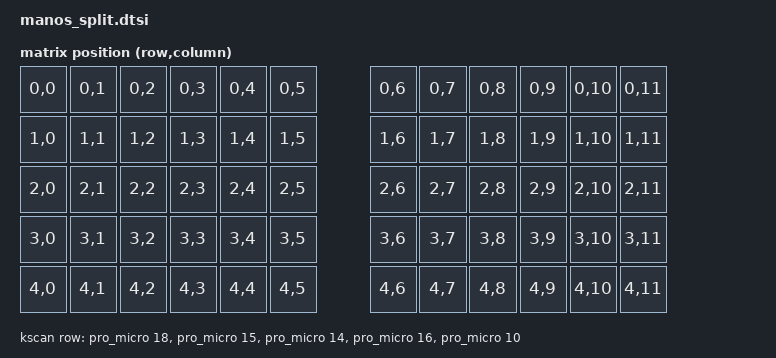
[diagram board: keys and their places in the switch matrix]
#include <physical_layouts.dtsi>
#include <dt-bindings/zmk/matrix_transform.h>

#define MIRYOKU_DOUBLE_TAP_GUARD(NAME, BINDING) \
/ { \
  behaviors { \
    NAME: NAME { \
      compatible = "zmk,behavior-tap-dance"; \
      #binding-cells = <0>; \
      tapping-term-ms = <U_TAPPING_TERM>; \
      bindings = <&none>, <BINDING>; \
    }; \
  }; \
};

#define MIRYOKU_X(LAYER, STRING) \
MIRYOKU_DOUBLE_TAP_GUARD(u_to_U_##LAYER, &to U_##LAYER)
MIRYOKU_LAYER_LIST
#undef MIRYOKU_X

#if defined (MIRYOKU_KLUDGE_DOUBLETAPBOOT)
  #if defined (MIRYOKU_KLUDGE_SOFT_OFF)
MIRYOKU_DOUBLE_TAP_GUARD(u_soft_off, &soft_off)
  #else
MIRYOKU_DOUBLE_TAP_GUARD(u_bootloader, &bootloader)
  #endif
#endif

#define MIRYOKU_KLUDGE_BOTTOMROWCOMBOS_TERM 50
#define MIRYOKU_KLUDGE_BOTTOMROWCOMBOS_MACRO(LAYER, POSITION, BINDING) \
bottomrowcombos_ ## LAYER ## _ ## POSITION { \
  layers = <LAYER>; \
  key-positions = <MIRYOKU_KLUDGE_BOTTOMROWCOMBOS_ ## POSITION>; \
  bindings = <BINDING>; \
  timeout-ms = <MIRYOKU_KLUDGE_BOTTOMROWCOMBOS_TERM>; \
};

#define MIRYOKU_X(CODE, EMPTY) \
MIRYOKU_TAPDELAY_TAP(CODE##EMPTY) \
MIRYOKU_TAPDELAY_MT(CODE##EMPTY) \
MIRYOKU_TAPDELAY_LT(CODE##EMPTY)

MIRYOKU_TAPDELAY_LIST

#undef MIRYOKU_X


&mmv {
  acceleration-exponent = <U_MOUSE_MOVE_EXPONENT>;
  time-to-max-speed-ms = <U_MOUSE_MOVE_TIME>;
  delay-ms = <U_MOUSE_MOVE_DELAY>;
};

/*
&msc {
  acceleration-exponent = <U_MOUSE_SCROLL_EXPONENT>;
  time-to-max-speed-ms = <U_MOUSE_SCROLL_TIME>;
  delay-ms = <U_MOUSE_SCROLL_DELAY>;
};
*/

#define MIRYOKU_KLUDGE_THUMBCOMBOS_TERM 200
#define MIRYOKU_KLUDGE_THUMBCOMBOS_MACRO(LAYER, POSITION, BINDING) \
thumbcombos_ ## LAYER ## _ ## POSITION { \
  layers = <LAYER>; \
  key-positions = <MIRYOKU_KLUDGE_THUMBCOMBOS_ ## POSITION>; \
  bindings = <BINDING>; \
  timeout-ms = <MIRYOKU_KLUDGE_THUMBCOMBOS_TERM>; \
};

U_MACRO(u_macro_btn1, wait-ms = <0>; bindings = <&kp KP_SLASH &kp KP_N5>;)
U_MACRO(u_macro_btn2, wait-ms = <0>; bindings = <&kp KP_MINUS &kp KP_N5>;)
U_MACRO(u_macro_btn3, wait-ms = <0>; bindings = <&kp KP_ASTERISK &kp KP_N5>;)

#define MIRYOKU_SHIFT_FUNCTION(NAME, BINDING, SHIFT_BINDING) \
/ { \
  behaviors { \
    NAME: NAME { \
      compatible = "zmk,behavior-mod-morph"; \
      #binding-cells = <0>; \
      bindings = <BINDING>, <SHIFT_BINDING>; \
      mods = <(MOD_LSFT|MOD_RSFT)>; \
    }; \
  }; \
};

#define MIRYOKU_SHIFT_MACRO(NAME, BINDING, SHIFT_BINDING) \
U_MACRO(u_macro_ ## NAME, wait-ms = <0>; bindings = <SHIFT_BINDING>;) \
MIRYOKU_SHIFT_FUNCTION(NAME, BINDING, &u_macro_ ## NAME)

MIRYOKU_SHIFT_MACRO(u_bt_sel_0, &bt BT_SEL 0, &bt BT_SEL 0 &bt BT_CLR)
MIRYOKU_SHIFT_MACRO(u_bt_sel_1, &bt BT_SEL 1, &bt BT_SEL 1 &bt BT_CLR)
MIRYOKU_SHIFT_MACRO(u_bt_sel_2, &bt BT_SEL 2, &bt BT_SEL 2 &bt BT_CLR)
MIRYOKU_SHIFT_MACRO(u_bt_sel_3, &bt BT_SEL 3, &bt BT_SEL 3 &bt BT_CLR)
MIRYOKU_SHIFT_MACRO(u_bt_sel_4, &bt BT_SEL 4, &bt BT_SEL 4 &bt BT_CLR)

MIRYOKU_SHIFT_FUNCTION(u_out_tog, &out OUT_TOG, &out OUT_USB)

MIRYOKU_SHIFT_FUNCTION(u_caps_word, &caps_word, &kp CAPS)

MIRYOKU_SHIFT_FUNCTION(u_rgb_tog, &rgb_ug RGB_TOG, &rgb_ug RGB_OFF)

MIRYOKU_SHIFT_FUNCTION(u_rgb_eff, &rgb_ug RGB_EFF, &rgb_ug RGB_EFR)
MIRYOKU_SHIFT_FUNCTION(u_rgb_hui, &rgb_ug RGB_HUI, &rgb_ug RGB_HUD)
MIRYOKU_SHIFT_FUNCTION(u_rgb_sai, &rgb_ug RGB_SAI, &rgb_ug RGB_SAD)
MIRYOKU_SHIFT_FUNCTION(u_rgb_bri, &rgb_ug RGB_BRI, &rgb_ug RGB_BRD)

MIRYOKU_SHIFT_FUNCTION(u_ep_tog, &ext_power EP_TOG, &ext_power EP_OFF)

#define MIRYOKU_KLUDGE_TOPROWCOMBOS_TERM 50
#define MIRYOKU_KLUDGE_TOPROWCOMBOS_MACRO(LAYER, POSITION, BINDING) \
toprowcombos_ ## LAYER ## _ ## POSITION { \
  layers = <LAYER>; \
  key-positions = <MIRYOKU_KLUDGE_TOPROWCOMBOS_ ## POSITION>; \
  bindings = <BINDING>; \
  timeout-ms = <MIRYOKU_KLUDGE_TOPROWCOMBOS_TERM>; \
};

/ {
    chosen {
        zmk,physical-layout = &layout;
    };

    kscan: kscan {
        compatible = "zmk,kscan-gpio-matrix";
        diode-direction = "col2row";

        row-gpios = <&pro_micro 18 (GPIO_ACTIVE_HIGH | GPIO_PULL_DOWN)>,
                    <&pro_micro 15 (GPIO_ACTIVE_HIGH | GPIO_PULL_DOWN)>,
                    <&pro_micro 14 (GPIO_ACTIVE_HIGH | GPIO_PULL_DOWN)>,
                    <&pro_micro 16 (GPIO_ACTIVE_HIGH | GPIO_PULL_DOWN)>,
                    <&pro_micro 10 (GPIO_ACTIVE_HIGH | GPIO_PULL_DOWN)>;
    };

    transform: matrix_transform {
        compatible = "zmk,matrix-transform";
        rows = <5>;
        columns = <12>;

        map = <
                RC(0, 0) RC(0, 1) RC(0, 2) RC(0, 3) RC(0, 4) RC(0, 5) RC(0, 6) RC(0, 7) RC(0, 8) RC(0, 9) RC(0, 10) RC(0, 11)
                RC(1, 0) RC(1, 1) RC(1, 2) RC(1, 3) RC(1, 4) RC(1, 5) RC(1, 6) RC(1, 7) RC(1, 8) RC(1, 9) RC(1, 10) RC(1, 11)
                RC(2, 0) RC(2, 1) RC(2, 2) RC(2, 3) RC(2, 4) RC(2, 5) RC(2, 6) RC(2, 7) RC(2, 8) RC(2, 9) RC(2, 10) RC(2, 11)
                RC(3, 0) RC(3, 1) RC(3, 2) RC(3, 3) RC(3, 4) RC(3, 5) RC(3, 6) RC(3, 7) RC(3, 8) RC(3, 9) RC(3, 10) RC(3, 11)
                RC(4, 0) RC(4, 1) RC(4, 2) RC(4, 3) RC(4, 4) RC(4, 5) RC(4, 6) RC(4, 7) RC(4, 8) RC(4, 9) RC(4, 10) RC(4, 11)
        >;
    };

    layout: layout {
        compatible = "zmk,physical-layout";
        display-name = "Split Ortho 5x6";
        transform = <&transform>;
        kscan = <&kscan>;

        keys  //                     w   h    x    y     rot    rx    ry
            = <&key_physical_attrs 100 100    0    0       0     0     0>
            , <&key_physical_attrs 100 100  100    0       0     0     0>
            , <&key_physical_attrs 100 100  200    0       0     0     0>
            , <&key_physical_attrs 100 100  300    0       0     0     0>
            , <&key_physical_attrs 100 100  400    0       0     0     0>
            , <&key_physical_attrs 100 100  500    0       0     0     0>
            , <&key_physical_attrs 100 100  700    0       0     0     0>
            , <&key_physical_attrs 100 100  800    0       0     0     0>
            , <&key_physical_attrs 100 100  900    0       0     0     0>
            , <&key_physical_attrs 100 100 1000    0       0     0     0>
            , <&key_physical_attrs 100 100 1100    0       0     0     0>
            , <&key_physical_attrs 100 100 1200    0       0     0     0>
            , <&key_physical_attrs 100 100    0  100       0     0     0>
            , <&key_physical_attrs 100 100  100  100       0     0     0>
            , <&key_physical_attrs 100 100  200  100       0     0     0>
            , <&key_physical_attrs 100 100  300  100       0     0     0>
            , <&key_physical_attrs 100 100  400  100       0     0     0>
            , <&key_physical_attrs 100 100  500  100       0     0     0>
            , <&key_physical_attrs 100 100  700  100       0     0     0>
            , <&key_physical_attrs 100 100  800  100       0     0     0>
            , <&key_physical_attrs 100 100  900  100       0     0     0>
            , <&key_physical_attrs 100 100 1000  100       0     0     0>
            , <&key_physical_attrs 100 100 1100  100       0     0     0>
            , <&key_physical_attrs 100 100 1200  100       0     0     0>
            , <&key_physical_attrs 100 100    0  200       0     0     0>
            , <&key_physical_attrs 100 100  100  200       0     0     0>
            , <&key_physical_attrs 100 100  200  200       0     0     0>
            , <&key_physical_attrs 100 100  300  200       0     0     0>
            , <&key_physical_attrs 100 100  400  200       0     0     0>
            , <&key_physical_attrs 100 100  500  200       0     0     0>
            , <&key_physical_attrs 100 100  700  200       0     0     0>
            , <&key_physical_attrs 100 100  800  200       0     0     0>
            , <&key_physical_attrs 100 100  900  200       0     0     0>
            , <&key_physical_attrs 100 100 1000  200       0     0     0>
            , <&key_physical_attrs 100 100 1100  200       0     0     0>
            , <&key_physical_attrs 100 100 1200  200       0     0     0>
            , <&key_physical_attrs 100 100    0  300       0     0     0>
            , <&key_physical_attrs 100 100  100  300       0     0     0>
            , <&key_physical_attrs 100 100  200  300       0     0     0>
            , <&key_physical_attrs 100 100  300  300       0     0     0>
            , <&key_physical_attrs 100 100  400  300       0     0     0>
            , <&key_physical_attrs 100 100  500  300       0     0     0>
            , <&key_physical_attrs 100 100  700  300       0     0     0>
            , <&key_physical_attrs 100 100  800  300       0     0     0>
            , <&key_physical_attrs 100 100  900  300       0     0     0>
            , <&key_physical_attrs 100 100 1000  300       0     0     0>
            , <&key_physical_attrs 100 100 1100  300       0     0     0>
            , <&key_physical_attrs 100 100 1200  300       0     0     0>
            , <&key_physical_attrs 100 100    0  400       0     0     0>
            , <&key_physical_attrs 100 100  100  400       0     0     0>
            , <&key_physical_attrs 100 100  200  400       0     0     0>
            , <&key_physical_attrs 100 100  300  400       0     0     0>
            , <&key_physical_attrs 100 100  400  400       0     0     0>
            , <&key_physical_attrs 100 100  500  400       0     0     0>
            , <&key_physical_attrs 100 100  700  400       0     0     0>
            , <&key_physical_attrs 100 100  800  400       0     0     0>
            , <&key_physical_attrs 100 100  900  400       0     0     0>
            , <&key_physical_attrs 100 100 1000  400       0     0     0>
            , <&key_physical_attrs 100 100 1100  400       0     0     0>
            , <&key_physical_attrs 100 100 1200  400       0     0     0>
            ;
    };

    behaviors {
        u_mt: u_mt {
        compatible = "zmk,behavior-hold-tap";
        #binding-cells = <2>;
        tapping-term-ms = <U_TAPPING_TERM>;
        flavor = "tap-preferred";
        bindings = <&kp>, <&kp>;
        };
        u_lt: u_lt {
        compatible = "zmk,behavior-hold-tap";
        #binding-cells = <2>;
        tapping-term-ms = <U_TAPPING_TERM>;
        flavor = "tap-preferred";
        bindings = <&mo>, <&kp>;
        };
    };

    combos {
        compatible = "zmk,combos";
        MIRYOKU_KLUDGE_BOTTOMROWCOMBOS_MACRO(U_BASE, LEFTPINKIE, &kp Z)
        MIRYOKU_KLUDGE_BOTTOMROWCOMBOS_MACRO(U_BASE, LEFTINNERINDEX, &kp B)
        MIRYOKU_KLUDGE_BOTTOMROWCOMBOS_MACRO(U_BASE, RIGHTINNERINDEX, &kp N)
        MIRYOKU_KLUDGE_BOTTOMROWCOMBOS_MACRO(U_BASE, RIGHTPINKIE, &kp BSLH)

        MIRYOKU_KLUDGE_BOTTOMROWCOMBOS_MACRO(U_NAV, LEFTPINKIE, U_NA)
        MIRYOKU_KLUDGE_BOTTOMROWCOMBOS_MACRO(U_NAV, LEFTINNERINDEX, U_NA)
        MIRYOKU_KLUDGE_BOTTOMROWCOMBOS_MACRO(U_NAV, RIGHTINNERINDEX, &kp INS)
        MIRYOKU_KLUDGE_BOTTOMROWCOMBOS_MACRO(U_NAV, RIGHTPINKIE, &kp END)

        MIRYOKU_KLUDGE_BOTTOMROWCOMBOS_MACRO(U_MOUSE, LEFTPINKIE, U_NA)
        MIRYOKU_KLUDGE_BOTTOMROWCOMBOS_MACRO(U_MOUSE, LEFTINNERINDEX, U_NA)
        MIRYOKU_KLUDGE_BOTTOMROWCOMBOS_MACRO(U_MOUSE, RIGHTINNERINDEX, U_NU)
        MIRYOKU_KLUDGE_BOTTOMROWCOMBOS_MACRO(U_MOUSE, RIGHTPINKIE, U_WH_R)

        MIRYOKU_KLUDGE_BOTTOMROWCOMBOS_MACRO(U_MEDIA, LEFTPINKIE, U_NA)
        MIRYOKU_KLUDGE_BOTTOMROWCOMBOS_MACRO(U_MEDIA, LEFTINNERINDEX, U_NA)
        MIRYOKU_KLUDGE_BOTTOMROWCOMBOS_MACRO(U_MEDIA, RIGHTINNERINDEX, &u_out_tog)
        MIRYOKU_KLUDGE_BOTTOMROWCOMBOS_MACRO(U_MEDIA, RIGHTPINKIE, &u_bt_sel_3)

        MIRYOKU_KLUDGE_BOTTOMROWCOMBOS_MACRO(U_NUM, LEFTPINKIE, &kp GRAVE)
        MIRYOKU_KLUDGE_BOTTOMROWCOMBOS_MACRO(U_NUM, LEFTINNERINDEX, &kp BSLH)
        MIRYOKU_KLUDGE_BOTTOMROWCOMBOS_MACRO(U_NUM, RIGHTINNERINDEX, U_NA)
        MIRYOKU_KLUDGE_BOTTOMROWCOMBOS_MACRO(U_NUM, RIGHTPINKIE, U_NA)

        MIRYOKU_KLUDGE_BOTTOMROWCOMBOS_MACRO(U_SYM, LEFTPINKIE, &kp TILDE)
        MIRYOKU_KLUDGE_BOTTOMROWCOMBOS_MACRO(U_SYM, LEFTINNERINDEX, &kp PIPE)
        MIRYOKU_KLUDGE_BOTTOMROWCOMBOS_MACRO(U_SYM, RIGHTINNERINDEX, U_NA)
        MIRYOKU_KLUDGE_BOTTOMROWCOMBOS_MACRO(U_SYM, RIGHTPINKIE, U_NA)

        MIRYOKU_KLUDGE_BOTTOMROWCOMBOS_MACRO(U_FUN, LEFTPINKIE, &kp F10)
        MIRYOKU_KLUDGE_BOTTOMROWCOMBOS_MACRO(U_FUN, LEFTINNERINDEX, &kp PAUSE_BREAK)
        MIRYOKU_KLUDGE_BOTTOMROWCOMBOS_MACRO(U_FUN, RIGHTINNERINDEX, U_NA)
        MIRYOKU_KLUDGE_BOTTOMROWCOMBOS_MACRO(U_FUN, RIGHTPINKIE, U_NA)

        MIRYOKU_KLUDGE_BOTTOMROWCOMBOS_MACRO(U_BUTTON, LEFTPINKIE, U_UND)
        MIRYOKU_KLUDGE_BOTTOMROWCOMBOS_MACRO(U_BUTTON, LEFTINNERINDEX, U_RDO)
        MIRYOKU_KLUDGE_BOTTOMROWCOMBOS_MACRO(U_BUTTON, RIGHTINNERINDEX, U_RDO)
        MIRYOKU_KLUDGE_BOTTOMROWCOMBOS_MACRO(U_BUTTON, RIGHTPINKIE, U_UND)

        MIRYOKU_KLUDGE_TOPROWCOMBOS_MACRO(U_BASE, LEFTPINKIE, &kp Q)
        MIRYOKU_KLUDGE_TOPROWCOMBOS_MACRO(U_BASE, LEFTINNERINDEX, &kp T)
        MIRYOKU_KLUDGE_TOPROWCOMBOS_MACRO(U_BASE, RIGHTINNERINDEX, &kp Y)
        MIRYOKU_KLUDGE_TOPROWCOMBOS_MACRO(U_BASE, RIGHTPINKIE, &kp P)

        MIRYOKU_KLUDGE_TOPROWCOMBOS_MACRO(U_NAV, LEFTPINKIE, &bootloader)
        MIRYOKU_KLUDGE_TOPROWCOMBOS_MACRO(U_NAV, LEFTINNERINDEX, U_NA)
        MIRYOKU_KLUDGE_TOPROWCOMBOS_MACRO(U_NAV, RIGHTINNERINDEX, U_RDO)
        MIRYOKU_KLUDGE_TOPROWCOMBOS_MACRO(U_NAV, RIGHTPINKIE, U_UND)

        MIRYOKU_KLUDGE_TOPROWCOMBOS_MACRO(U_MOUSE, LEFTPINKIE, &bootloader)
        MIRYOKU_KLUDGE_TOPROWCOMBOS_MACRO(U_MOUSE, LEFTINNERINDEX, U_NA)
        MIRYOKU_KLUDGE_TOPROWCOMBOS_MACRO(U_MOUSE, RIGHTINNERINDEX, U_RDO)
        MIRYOKU_KLUDGE_TOPROWCOMBOS_MACRO(U_MOUSE, RIGHTPINKIE, U_UND)

        MIRYOKU_KLUDGE_TOPROWCOMBOS_MACRO(U_MEDIA, LEFTPINKIE, &bootloader)
        MIRYOKU_KLUDGE_TOPROWCOMBOS_MACRO(U_MEDIA, LEFTINNERINDEX, U_NA)
        MIRYOKU_KLUDGE_TOPROWCOMBOS_MACRO(U_MEDIA, RIGHTINNERINDEX, &rgb_ug RGB_TOG)
        MIRYOKU_KLUDGE_TOPROWCOMBOS_MACRO(U_MEDIA, RIGHTPINKIE, &u_rgb_bri)
        
        MIRYOKU_KLUDGE_TOPROWCOMBOS_MACRO(U_NUM, LEFTPINKIE, &kp LBKT)
        MIRYOKU_KLUDGE_TOPROWCOMBOS_MACRO(U_NUM, LEFTINNERINDEX, &kp RBKT)
        MIRYOKU_KLUDGE_TOPROWCOMBOS_MACRO(U_NUM, RIGHTINNERINDEX, U_NA)
        MIRYOKU_KLUDGE_TOPROWCOMBOS_MACRO(U_NUM, RIGHTPINKIE, &bootloader)

        MIRYOKU_KLUDGE_TOPROWCOMBOS_MACRO(U_SYM, LEFTPINKIE, &kp LBRC)
        MIRYOKU_KLUDGE_TOPROWCOMBOS_MACRO(U_SYM, LEFTINNERINDEX, &kp RBRC)
        MIRYOKU_KLUDGE_TOPROWCOMBOS_MACRO(U_SYM, RIGHTINNERINDEX, U_NA)
        MIRYOKU_KLUDGE_TOPROWCOMBOS_MACRO(U_SYM, RIGHTPINKIE, &bootloader)

        MIRYOKU_KLUDGE_TOPROWCOMBOS_MACRO(U_FUN, LEFTPINKIE, &kp F12)
        MIRYOKU_KLUDGE_TOPROWCOMBOS_MACRO(U_FUN, LEFTINNERINDEX, &kp PSCRN)
        MIRYOKU_KLUDGE_TOPROWCOMBOS_MACRO(U_FUN, RIGHTINNERINDEX, U_NA)
        MIRYOKU_KLUDGE_TOPROWCOMBOS_MACRO(U_FUN, RIGHTPINKIE, &bootloader)

        MIRYOKU_KLUDGE_TOPROWCOMBOS_MACRO(U_BUTTON, LEFTPINKIE, U_UND)
        MIRYOKU_KLUDGE_TOPROWCOMBOS_MACRO(U_BUTTON, LEFTINNERINDEX, U_RDO)
        MIRYOKU_KLUDGE_TOPROWCOMBOS_MACRO(U_BUTTON, RIGHTINNERINDEX, U_RDO)
        MIRYOKU_KLUDGE_TOPROWCOMBOS_MACRO(U_BUTTON, RIGHTPINKIE, U_UND)
    };
};
